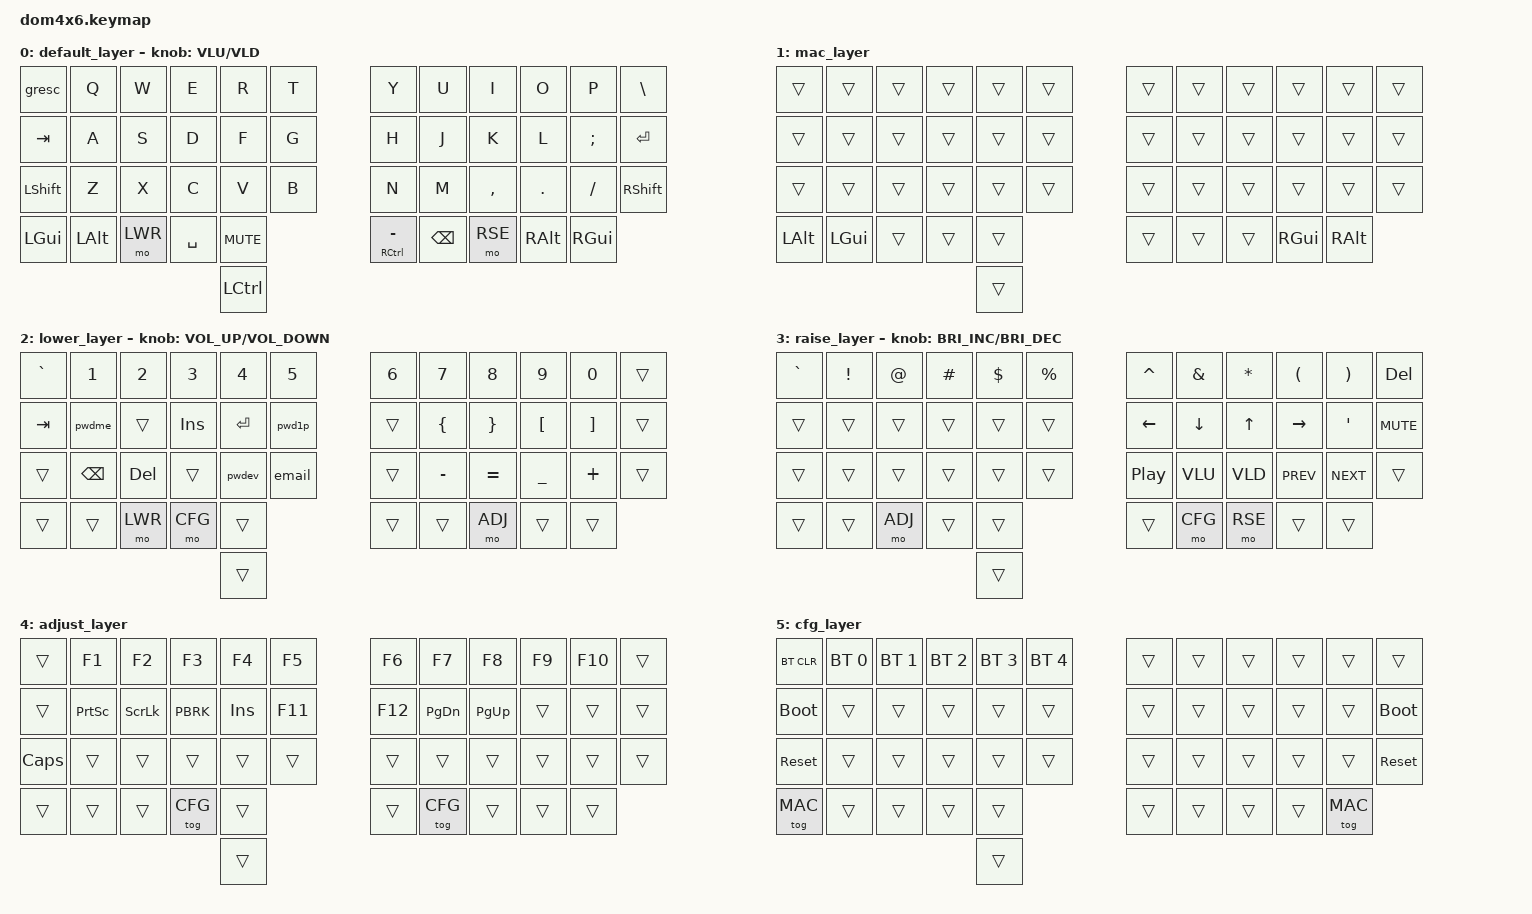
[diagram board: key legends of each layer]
#include <behaviors.dtsi>
#include <dt-bindings/zmk/keys.h>
#include <dt-bindings/zmk/bt.h>
#include <dt-bindings/zmk/ext_power.h>
#include <dominick.dtsi>

/ {

    // https://zmk.dev/docs/codes
    keymap {
        compatible = "zmk,keymap";

        default_layer {
// -----------------------------------------------------------------------------------------------
// |  GESC |  Q  |  W  |  E   |  R   |  T  |              |  Y   |  U  |  I  |  O  |  P  |  \    |
// |  TAB  |  A  |  S  |  D   |  F   |  G  |              |  H   |  J  |  K  |  L  |  ;  | ENT   |
// | LSHFT |  Z  |  X  |  C   |  V   |  B  |              |  N   |  M  |  ,  |  .  |  /  | RSHFT |
//               | GUI | ALT  | LWR  | SPC | MUTE | -/CTL | BSPC | RSE | ALT | GUI |
//                                         | LCTL |
            bindings = <
&gresc    &kp Q  &kp W  &kp E  &kp R  &kp T               &kp Y    &kp U  &kp I     &kp O   &kp P    &kp BSLH
&kp TAB   &kp A  &kp S  &kp D  &kp F  &kp G               &kp H    &kp J  &kp K     &kp L   &kp SEMI &kp RET
&kp LSHFT &kp Z  &kp X  &kp C  &kp V  &kp B               &kp N    &kp M  &kp COMMA &kp DOT &kp FSLH &kp RSHFT
  &kp LGUI &kp LALT &mo LWR &kp SPACE &kp C_MUTE   &mt RCTRL MINUS &kp BSPC &mo RSE  &kp RALT  &kp RGUI
                               &kp LCTRL
            >;

            sensor-bindings = <&inc_dec_kp VLU VLD>;
        };

        mac_layer {
            bindings = <
&trans &trans &trans &trans &trans &trans                &trans &trans &trans &trans &trans &trans
&trans &trans &trans &trans &trans &trans                &trans &trans &trans &trans &trans &trans
&trans &trans &trans &trans &trans &trans                &trans &trans &trans &trans &trans &trans
          &kp LALT &kp LGUI &trans &trans &trans  &trans &trans &trans &kp RGUI &kp RALT
                                   &trans
            >;
        };

        lower_layer {
// -----------------------------------------------------------------------------------------------
// |   `   |  1  |  2  |  3  |  4  |  5  |                   |  6  |  7  |  8  |  9  |  0  |     |
// |  TAB  |     |     |     |     |     |        |  |       |     |  {  |  }  |  [  |  ]  |     |
// |       | BSP | DEL |     |     |     |        |  |       |     |  -  |  =  |  _  |  +  |     |
            bindings = <
&kp GRAVE &kp N1    &kp N2   &kp N3  &kp N4  &kp N5                   &kp N6  &kp N7    &kp N8    &kp N9    &kp N0    &trans
&kp TAB   &pwdme    &trans   &kp INS &kp RET &pwd1p                   &trans  &kp LBRC  &kp RBRC  &kp LBKT  &kp RBKT  &trans
&trans    &kp BSPC  &kp DEL  &trans  &pwdev  &email                   &trans  &kp MINUS &kp EQUAL &kp UNDER &kp PLUS  &trans
                    &trans   &trans  &mo LWR &mo CFG  &trans  &trans  &trans  &mo ADJ   &trans    &trans
                                             &trans
            >;

            sensor-bindings = <&inc_dec_kp K_VOLUME_UP K_VOLUME_DOWN>;
        };

        raise_layer {
// --------------------------------------------------------------------------------------------------
// |   `   |  !  |  @  |  #   |  $   |  %   |                   |  ^  |  &  |  *  |  (  |  )  | DEL |
// |       |     |     |      |      |      |                   |  ←  |  ↓  |  ↑  |  →  |  '  |     |
// |       |     |     |      |      |      |        |  |       |     |     |     |     |     |     |
//                     |      |      |      |        |  |       |     |     |     |     |
            bindings = <
&kp GRAVE &kp EXCL &kp AT &kp HASH &kp DLLR &kp PRCNT              &kp CARET &kp AMPS  &kp STAR &kp LPAR  &kp RPAR &kp DEL
&trans    &trans   &trans &trans   &trans   &trans                 &kp LEFT  &kp DOWN  &kp UP   &kp RIGHT &kp SQT  &kp C_MUTE
&trans    &trans   &trans &trans   &trans   &trans                 &kp C_PP  &kp VLU   &kp VLD  &kp C_PREV &kp C_NEXT &trans
                   &trans &trans   &mo ADJ  &trans  &trans  &trans &mo CFG   &mo RSE   &trans   &trans
                                            &trans
            >;

            sensor-bindings = <&inc_dec_kp C_BRIGHTNESS_INC C_BRIGHTNESS_DEC>;
        };

        adjust_layer {
            bindings = <
&trans    &kp F1    &kp F2   &kp F3   &kp F4  &kp F5                    &kp F6    &kp   F7  &kp F8    &kp F9 &kp F10 &trans
&trans    &kp PSCRN &kp SLCK &kp PBRK &kp INS &kp F11                   &kp F12   &kp PG_DN &kp PG_UP &trans &trans  &trans
&kp CAPS  &trans    &trans   &trans   &trans  &trans                    &trans    &trans    &trans    &trans &trans  &trans
                    &trans   &trans   &trans  &tog CFG  &trans  &trans  &tog CFG  &trans    &trans    &trans
                                              &trans
            >;
        };

        cfg_layer {
            bindings = <
&bt BT_CLR  &bt BT_SEL 0 &bt BT_SEL 1 &bt BT_SEL 2 &bt BT_SEL 3 &bt BT_SEL 4     &trans &trans &trans &trans &trans &trans
&bootloader &trans  &trans   &trans  &trans  &trans                 &trans  &trans  &trans  &trans  &trans  &bootloader
&sys_reset  &trans  &trans   &trans  &trans  &trans                 &trans  &trans  &trans  &trans  &trans  &sys_reset
                    &tog MAC &trans  &trans  &trans  &trans  &trans &trans  &trans  &trans  &tog MAC
                                             &trans
            >;
        };
    };
};

